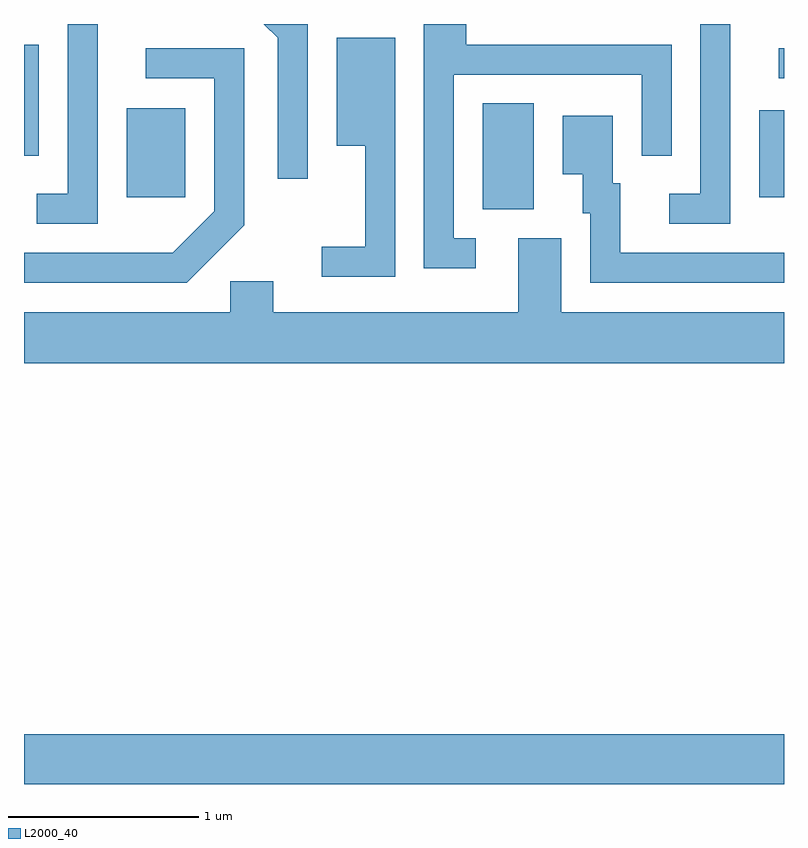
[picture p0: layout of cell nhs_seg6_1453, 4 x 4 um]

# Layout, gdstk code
import gdstk
lib = gdstk.Library(unit=1e-6, precision=1e-09)
def R(c, l, rs):  # rectangles x0, y0, x1, y1
    for r in rs: c.add(gdstk.rectangle(r[:2], r[2:], *l))
def P(c, l, *ps):  # polygons
    for p in ps: c.add(gdstk.Polygon(p, *l))
L2000_40 = (2000, 40)

nhs_seg6_1453 = lib.new_cell('nhs_seg6_1453')
R(nhs_seg6_1453, L2000_40, [(227.611,1652.162,231.611,1652.424), (230.026,1655.186,230.294,1655.744), (228.151,1655.251,228.459,1655.719), (231.481,1655.251,231.611,1655.709), (227.611,1655.468,227.689,1656.054), (231.583,1655.876,231.611,1656.034)])
P(nhs_seg6_1453, L2000_40, [(227.999,1656.162),(227.841,1656.162),(227.841,1655.269),(227.678,1655.269),(227.678,1655.111),(227.999,1655.111)],
  [(229.104,1656.162),(228.873,1656.162),(228.946,1656.089),(228.946,1655.348),(229.104,1655.348)],
  [(231.329,1656.162),(231.171,1656.162),(231.171,1655.269),(231.008,1655.269),(231.008,1655.111),(231.329,1655.111)],
  [(229.988,1655.034),(229.874,1655.034),(229.874,1655.896),(230.861,1655.896),(230.861,1655.468),(231.019,1655.468),(231.019,1656.054),(229.939,1656.054),(229.939,1656.162),(229.716,1656.162),(229.716,1654.876),(229.988,1654.876)],
  [(229.564,1656.089),(229.256,1656.089),(229.256,1655.521),(229.406,1655.521),(229.406,1654.989),(229.178,1654.989),(229.178,1654.831),(229.564,1654.831)],
  [(228.769,1655.104),(228.769,1656.034),(228.253,1656.034),(228.253,1655.876),(228.611,1655.876),(228.611,1655.177),(228.394,1654.959),(227.611,1654.959),(227.611,1654.801),(228.467,1654.801)],
  [(231.611,1654.959),(230.749,1654.959),(230.749,1655.324),(230.709,1655.324),(230.709,1655.679),(230.446,1655.679),(230.446,1655.371),(230.551,1655.371),(230.551,1655.166),(230.591,1655.166),(230.591,1654.801),(231.611,1654.801)],
  [(231.611,1654.644),(230.439,1654.644),(230.439,1655.034),(230.211,1655.034),(230.211,1654.644),(228.924,1654.644),(228.924,1654.809),(228.696,1654.809),(228.696,1654.644),(227.611,1654.644),(227.611,1654.376),(231.611,1654.376)])

lib.write_gds('nhs_seg6_1453.gds')
